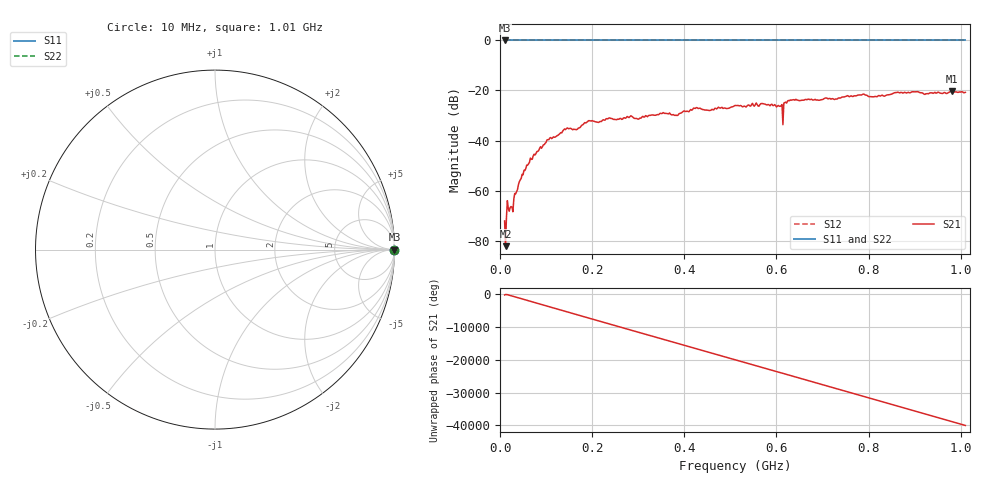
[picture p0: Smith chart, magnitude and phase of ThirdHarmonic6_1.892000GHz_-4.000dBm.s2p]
! 8/16/2025 10:50:34 PM
! C:\ANRITSUVNA\TEMP\TEMP.S2P
! CHANNEL.1
! TR.MEASUREMENT
! RAW.DATA
! RF.CORRECTION.OFF
! AVERAGING.OFF
! IF.BANDWIDTH: 5KHZ
! SWEEPTYPE:  FREQ.SWEEP(Linear)
! Reference Plane Port Info
! PORT:  PORT1  PORT2
! DISTANCE:  0  m  0  m
! TIME:  0  s  0  s
! PHASE.OFFSET:  0  deg.  0  deg.
! LOSS:  0  dB  0  dB
! REF.LOSS:  0  dB  0  dB
! REF.FREQ:  0  Hz  0  Hz
! Power Info
! POWER:  -20  dBm  -20  dBm
! EFF.POWER:  -20  dBm  -20  dBm
! SOURCE.ATTEN:  0  dB  0  dB
! TEST.ATTEN:  0  dB  0  dB
# GHZ S RI R 50.0
! FREQ.GHZ  S11RE  S11IM  S21RE  S21IM  S12RE  S12IM  S22RE  S22IM
!; PortSelection: Port_12
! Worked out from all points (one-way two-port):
!   501 points, 10 MHz to 1.01 GHz, reference 50 ohm
!   highest |S21| = -20.27 dB at 980 MHz (marker M1); lowest = -82.2 dB at 12 MHz (marker M2)
!   lowest |S11| = 0.0 dB at 10 MHz (marker M3)
!   |S11| at or under -10 dB: nowhere
!   |S22| runs from 0.0 to 0.0 dB; largest |S21 - S12| = 1.1
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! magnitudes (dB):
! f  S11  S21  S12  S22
! 10 MHz  0.0  -72.2  0.0  0.0
! 12 MHz  0.0  -82.2  0.0  0.0
! 20 MHz  0.0  -68.3  0.0  0.0
! 26 MHz  0.0  -66.6  0.0  0.0
! 44 MHz  0.0  -55.7  0.0  0.0
! 70 MHz  0.0  -47.5  0.0  0.0
! 106 MHz  0.0  -39.7  0.0  0.0
! 142 MHz  0.0  -35.6  0.0  0.0
! 178 MHz  0.0  -33.8  0.0  0.0
! 196 MHz  0.0  -32.1  0.0  0.0
! 344 MHz  0.0  -29.7  0.0  0.0
! 382 MHz  0.0  -29.8  0.0  0.0
! 424 MHz  0.0  -27.2  0.0  0.0
! 510 MHz  0.0  -26.0  0.0  0.0
! 570 MHz  0.0  -25.2  0.0  0.0
! 608 MHz  0.0  -26.3  0.0  0.0
! 610 MHz  0.0  -26.1  0.0  0.0
! 628 MHz  0.0  -24.1  0.0  0.0
! 678 MHz  0.0  -23.8  0.0  0.0
! 844 MHz  0.0  -21.7  0.0  0.0
! 980 MHz  0.0  -20.3  0.0  0.0
! 1.01 GHz  0.0  -20.7  0.0  0.0
